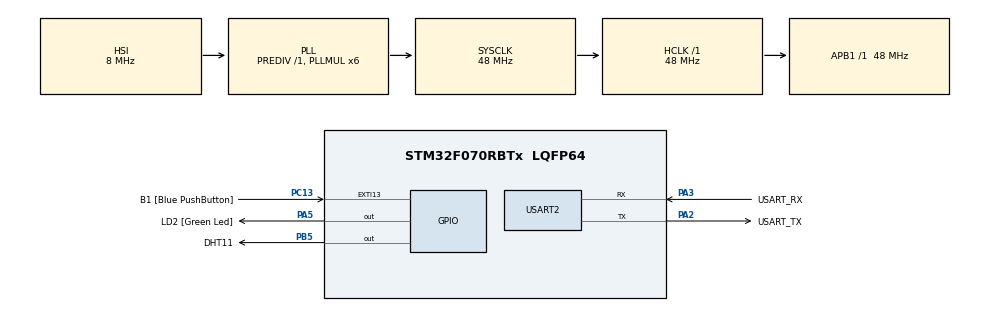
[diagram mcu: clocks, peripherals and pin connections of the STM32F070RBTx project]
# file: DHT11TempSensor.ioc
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Mcu.Family=STM32F0
Mcu.Name=STM32F070RBTx
Mcu.Package=LQFP64
PA13.GPIO_Label=TMS
PA13.Mode=Serial_Wire
PA13.Signal=SYS_SWDIO
PA14.GPIO_Label=TCK
PA14.Mode=Serial_Wire
PA14.Signal=SYS_SWCLK
PA2.GPIO_Label=USART_TX
PA2.Mode=Asynchronous
PA2.Signal=USART2_TX
PA3.GPIO_Label=USART_RX
PA3.Mode=Asynchronous
PA3.Signal=USART2_RX
PA5.GPIO_Label=LD2 [Green Led]
PA5.Signal=GPIO_Output
PB5.GPIO_Label=DHT11
PB5.GPIO_Speed=GPIO_SPEED_FREQ_HIGH
PB5.PinState=GPIO_PIN_RESET
PB5.Signal=GPIO_Output
PC13.GPIO_Label=B1 [Blue PushButton]
PC13.GPIO_ModeDefaultEXTI=GPIO_MODE_IT_FALLING
PC13.Signal=GPXTI13
PC14-OSC32_IN.GPIO_Label=RCC_OSC32_IN
PC14-OSC32_IN.Mode=LSE-External-Oscillator
PC14-OSC32_IN.Signal=RCC_OSC32_IN
PC15-OSC32_OUT.GPIO_Label=RCC_OSC32_OUT
PC15-OSC32_OUT.Mode=LSE-External-Oscillator
PC15-OSC32_OUT.Signal=RCC_OSC32_OUT
PF0-OSC_IN.GPIO_Label=RCC_OSC_IN
PF0-OSC_IN.Mode=HSE-External-Clock-Source
PF0-OSC_IN.Signal=RCC_OSC_IN
PF1-OSC_OUT.GPIO_Label=RCC_OSC_OUT
PF1-OSC_OUT.Signal=RCC_OSC_OUT
ProjectManager.HeapSize=0x200
ProjectManager.StackSize=0x400
ProjectManager.TargetToolchain=STM32CubeIDE
RCC.AHBFreq_Value=48000000
RCC.APB1Freq_Value=48000000
RCC.APB1TimFreq_Value=48000000
RCC.HCLKFreq_Value=48000000
RCC.PLLMUL=RCC_PLL_MUL6
RCC.SYSCLKFreq_VALUE=48000000
RCC.SYSCLKSource=RCC_SYSCLKSOURCE_PLLCLK
TIM6.Prescaler=48
USART2.VirtualMode-Asynchronous=VM_ASYNC
VP_TIM6_VS_ClockSourceINT.Mode=Enable_Timer
board=NUCLEO-F070RB

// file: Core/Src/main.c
/* USER CODE BEGIN Header */
/**
  ******************************************************************************
  * @file           : main.c
  * @brief          : Main program body
  ******************************************************************************
  * @attention
  *
  * <h2><center>&copy; Copyright (c) 2021 STMicroelectronics.
  * All rights reserved.</center></h2>
  *
  * This software component is licensed by ST under BSD 3-Clause license,
  * the "License"; You may not use this file except in compliance with the
  * License. You may obtain a copy of the License at:
  *                        opensource.org/licenses/BSD-3-Clause
  *
  ******************************************************************************
  */
/* USER CODE END Header */
#include "main.h"

/* USER CODE BEGIN Includes */
#include "stdio.h"
/* USER CODE END Includes */

TIM_HandleTypeDef htim6;

UART_HandleTypeDef huart2;

void SystemClock_Config(void);
static void MX_GPIO_Init(void);
static void MX_USART2_UART_Init(void);
static void MX_TIM6_Init(void);
/* USER CODE BEGIN PFP */
void delay_us(uint32_t delay_us);
void set_gpio_mode(uint8_t s_mode);
uint8_t dht11_read(uint8_t *r_data);
/* USER CODE END PFP */

/* USER CODE BEGIN 0 */
#define OUTPUT 1
#define INPUT 0
uint8_t dht11_val[2];
char send_data[128];
/* USER CODE END 0 */

int main(void)
{

  /* MCU Configuration--------------------------------------------------------*/

  /* Reset of all peripherals, Initializes the Flash interface and the Systick. */
  HAL_Init();

  /* Configure the system clock */
  SystemClock_Config();

  /* Initialize all configured peripherals */
  MX_GPIO_Init();
  MX_USART2_UART_Init();
  MX_TIM6_Init();
  /* USER CODE BEGIN 2 */
  HAL_TIM_Base_Start(&htim6);
  /* USER CODE END 2 */

  /* Infinite loop */
  /* USER CODE BEGIN WHILE */
  while (1)
  {

	if(dht11_read(dht11_val) == 1)
	{

	  uint16_t len = sprintf(send_data, "Humidity: %d  Temperature: %d\n\r", dht11_val[1], dht11_val[0]);

	  HAL_UART_Transmit(&huart2, (uint8_t*)send_data, len, 100);

	}
	else{
	  uint16_t len = sprintf(send_data, "DHT11 Read Error!\n\r");

	  HAL_UART_Transmit(&huart2, (uint8_t*)send_data, len, 100);
	}

	HAL_Delay(3000);
    /* USER CODE END WHILE */

  }
}

void SystemClock_Config(void)
{
  RCC_OscInitTypeDef RCC_OscInitStruct = {0};
  RCC_ClkInitTypeDef RCC_ClkInitStruct = {0};

  /** Initializes the RCC Oscillators according to the specified parameters
  * in the RCC_OscInitTypeDef structure.
  */
  RCC_OscInitStruct.OscillatorType = RCC_OSCILLATORTYPE_HSI;
  RCC_OscInitStruct.HSIState = RCC_HSI_ON;
  RCC_OscInitStruct.HSICalibrationValue = RCC_HSICALIBRATION_DEFAULT;
  RCC_OscInitStruct.PLL.PLLState = RCC_PLL_ON;
  RCC_OscInitStruct.PLL.PLLSource = RCC_PLLSOURCE_HSI;
  RCC_OscInitStruct.PLL.PLLMUL = RCC_PLL_MUL6;
  RCC_OscInitStruct.PLL.PREDIV = RCC_PREDIV_DIV1;
  if (HAL_RCC_OscConfig(&RCC_OscInitStruct) != HAL_OK)
  {
    Error_Handler();
  }
  /** Initializes the CPU, AHB and APB buses clocks
  */
  RCC_ClkInitStruct.ClockType = RCC_CLOCKTYPE_HCLK|RCC_CLOCKTYPE_SYSCLK
                              |RCC_CLOCKTYPE_PCLK1;
  RCC_ClkInitStruct.SYSCLKSource = RCC_SYSCLKSOURCE_PLLCLK;
  RCC_ClkInitStruct.AHBCLKDivider = RCC_SYSCLK_DIV1;
  RCC_ClkInitStruct.APB1CLKDivider = RCC_HCLK_DIV1;

  if (HAL_RCC_ClockConfig(&RCC_ClkInitStruct, FLASH_LATENCY_1) != HAL_OK)
  {
    Error_Handler();
  }
}

static void MX_TIM6_Init(void)
{

  htim6.Instance = TIM6;
  htim6.Init.Prescaler = 48;
  htim6.Init.CounterMode = TIM_COUNTERMODE_UP;
  htim6.Init.Period = 65535;
  htim6.Init.AutoReloadPreload = TIM_AUTORELOAD_PRELOAD_DISABLE;
  if (HAL_TIM_Base_Init(&htim6) != HAL_OK)
  {
    Error_Handler();
  }

}

static void MX_USART2_UART_Init(void)
{

  huart2.Instance = USART2;
  huart2.Init.BaudRate = 38400;
  huart2.Init.WordLength = UART_WORDLENGTH_8B;
  huart2.Init.StopBits = UART_STOPBITS_1;
  huart2.Init.Parity = UART_PARITY_NONE;
  huart2.Init.Mode = UART_MODE_TX_RX;
  huart2.Init.HwFlowCtl = UART_HWCONTROL_NONE;
  huart2.Init.OverSampling = UART_OVERSAMPLING_16;
  huart2.Init.OneBitSampling = UART_ONE_BIT_SAMPLE_DISABLE;
  huart2.AdvancedInit.AdvFeatureInit = UART_ADVFEATURE_NO_INIT;
  if (HAL_UART_Init(&huart2) != HAL_OK)
  {
    Error_Handler();
  }

}

static void MX_GPIO_Init(void)
{
  GPIO_InitTypeDef GPIO_InitStruct = {0};

  /* GPIO Ports Clock Enable */
  __HAL_RCC_GPIOC_CLK_ENABLE();
  __HAL_RCC_GPIOF_CLK_ENABLE();
  __HAL_RCC_GPIOA_CLK_ENABLE();
  __HAL_RCC_GPIOB_CLK_ENABLE();

  /*Configure GPIO pin Output Level */
  HAL_GPIO_WritePin(LD2_GPIO_Port, LD2_Pin, GPIO_PIN_RESET);

  /*Configure GPIO pin Output Level */
  HAL_GPIO_WritePin(DHT11_GPIO_Port, DHT11_Pin, GPIO_PIN_RESET);

  /*Configure GPIO pin : B1_Pin */
  GPIO_InitStruct.Pin = B1_Pin;
  GPIO_InitStruct.Mode = GPIO_MODE_IT_FALLING;
  GPIO_InitStruct.Pull = GPIO_NOPULL;
  HAL_GPIO_Init(B1_GPIO_Port, &GPIO_InitStruct);

  /*Configure GPIO pin : LD2_Pin */
  GPIO_InitStruct.Pin = LD2_Pin;
  GPIO_InitStruct.Mode = GPIO_MODE_OUTPUT_PP;
  GPIO_InitStruct.Pull = GPIO_NOPULL;
  GPIO_InitStruct.Speed = GPIO_SPEED_FREQ_LOW;
  HAL_GPIO_Init(LD2_GPIO_Port, &GPIO_InitStruct);

  /*Configure GPIO pin : DHT11_Pin */
  GPIO_InitStruct.Pin = DHT11_Pin;
  GPIO_InitStruct.Mode = GPIO_MODE_OUTPUT_PP;
  GPIO_InitStruct.Pull = GPIO_NOPULL;
  GPIO_InitStruct.Speed = GPIO_SPEED_FREQ_HIGH;
  HAL_GPIO_Init(DHT11_GPIO_Port, &GPIO_InitStruct);

}

/* USER CODE BEGIN 4 */
void delay_us(uint32_t delay_us)
{
	uint16_t init_time = (uint16_t)__HAL_TIM_GET_COUNTER(&htim6);
	while(((uint16_t)__HAL_TIM_GET_COUNTER(&htim6)-init_time) < delay_us){
	}
}

void set_gpio_mode(uint8_t s_mode)
{
	GPIO_InitTypeDef GPIO_InitStruct = {0};

	if(s_mode == OUTPUT){
	  GPIO_InitStruct.Pin = DHT11_Pin;
	  GPIO_InitStruct.Mode = GPIO_MODE_OUTPUT_PP;
	  GPIO_InitStruct.Pull = GPIO_NOPULL;
	  GPIO_InitStruct.Speed = GPIO_SPEED_FREQ_HIGH;
	  HAL_GPIO_Init(GPIOB, &GPIO_InitStruct);
	}
	else if(s_mode == INPUT){
	  GPIO_InitStruct.Pin = DHT11_Pin;
	  GPIO_InitStruct.Mode = GPIO_MODE_INPUT;
	  GPIO_InitStruct.Pull = GPIO_NOPULL;
	  GPIO_InitStruct.Speed = GPIO_SPEED_FREQ_HIGH;
	  HAL_GPIO_Init(GPIOB, &GPIO_InitStruct);
	}
}

uint8_t dht11_read(uint8_t *r_data){

	uint16_t b_time = 0, s_bit = 0;
	uint8_t hum_val = 0, temp_val = 0;
	uint8_t m_data[40];

	set_gpio_mode(OUTPUT);			// set pin direction as input
	HAL_GPIO_WritePin(DHT11_GPIO_Port, DHT11_Pin, GPIO_PIN_RESET);
	HAL_Delay(20);					// wait 20 ms in low state
	set_gpio_mode(INPUT);			// set pin direction as input

	/* check DHT11's answer */
	__HAL_TIM_SET_COUNTER(&htim6, 0);
	while(HAL_GPIO_ReadPin(DHT11_GPIO_Port, DHT11_Pin) == GPIO_PIN_SET)
		if((uint16_t)__HAL_TIM_GET_COUNTER(&htim6) > 300)
			return 0;
	__HAL_TIM_SET_COUNTER(&htim6, 0);
	while(HAL_GPIO_ReadPin(DHT11_GPIO_Port, DHT11_Pin) == GPIO_PIN_RESET)
		if((uint16_t)__HAL_TIM_GET_COUNTER(&htim6) > 300)
			return 0;
	__HAL_TIM_SET_COUNTER(&htim6, 0);
	while(HAL_GPIO_ReadPin(DHT11_GPIO_Port, DHT11_Pin) == GPIO_PIN_SET)
		if((uint16_t)__HAL_TIM_GET_COUNTER(&htim6) > 300)
			return 0;

	for(int j = 0; j < 40; j++){

		__HAL_TIM_SET_COUNTER(&htim6, 0);
		while(HAL_GPIO_ReadPin(DHT11_GPIO_Port, DHT11_Pin) == GPIO_PIN_RESET)
			if((uint16_t)__HAL_TIM_GET_COUNTER(&htim6) > 300)
				return 0;
		__HAL_TIM_SET_COUNTER(&htim6, 0);
		while(HAL_GPIO_ReadPin(DHT11_GPIO_Port, DHT11_Pin) == GPIO_PIN_SET)
			if((uint16_t)__HAL_TIM_GET_COUNTER(&htim6) > 300)
				return 0;
		b_time = (uint16_t)__HAL_TIM_GET_COUNTER(&htim6);

		if(b_time > 20 && b_time < 30){
			s_bit = 0;
		}
		else if(b_time > 60 && b_time < 80){
			 s_bit = 1;
		}

		m_data[j] = s_bit;

	}

	for(int i = 0; i < 8; i++){
		hum_val += m_data[i];
		hum_val = hum_val << 1;
	}

	for(int i = 16; i < 24; i++){
		temp_val += m_data[i];
		temp_val = temp_val << 1;
	}

	hum_val = hum_val >> 1;
	temp_val = temp_val >> 1;

	r_data[0] = temp_val;
	r_data[1] = hum_val;

	return 1;
}

/* USER CODE END 4 */

void Error_Handler(void)
{
  __disable_irq();
  while (1)
  {
  }
}

/************************ (C) COPYRIGHT STMicroelectronics *****END OF FILE****/
